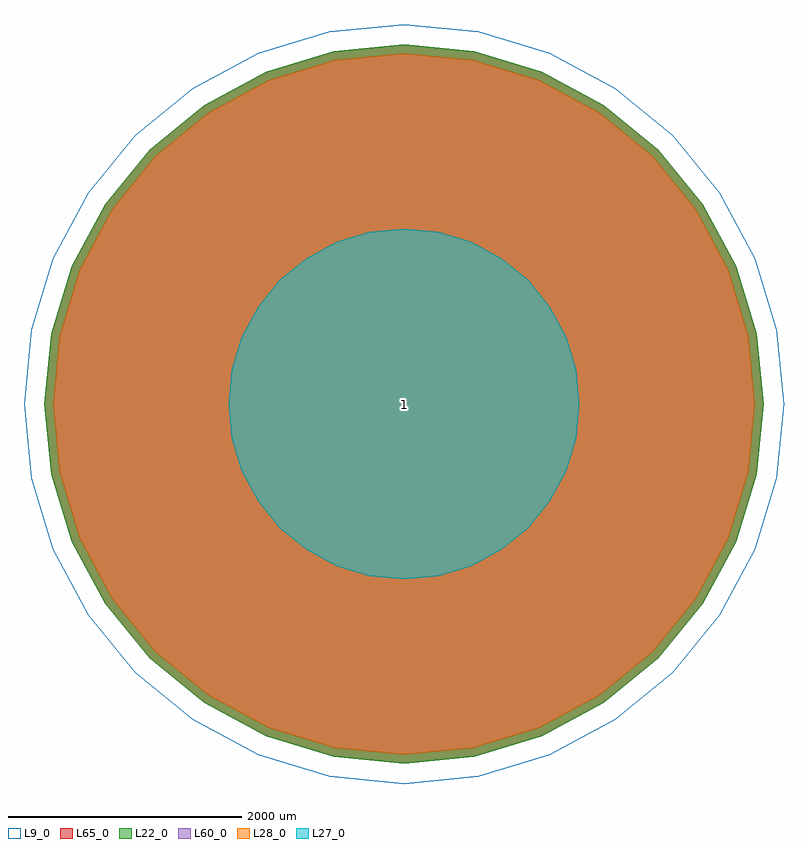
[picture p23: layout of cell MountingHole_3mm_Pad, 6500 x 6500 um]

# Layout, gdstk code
import gdstk
lib = gdstk.Library(unit=1e-6, precision=1e-09)
def P(c, l, *ps):  # polygons
    for p in ps: c.add(gdstk.Polygon(p, *l))
L9_0 = (9, 0)
L22_0 = (22, 0)
L27_0 = (27, 0)
L28_0 = (28, 0)
L60_0 = (60, 0)
L65_0 = (65, 0)

mountinghole_3mm_pad = lib.new_cell('MountingHole_3mm_Pad')
P(mountinghole_3mm_pad, L9_0, [(3250,0),(3187.552,634.044),(3002.608,1243.721),(2702.276,1805.603),(2298.097,2298.097),(1805.603,2702.276),(1243.721,3002.608),(634.044,3187.552),(0,3250),(-634.044,3187.552),(-1243.721,3002.608),(-1805.603,2702.276),(-2298.097,2298.097),(-2702.276,1805.603),(-3002.608,1243.721),(-3187.552,634.044),(-3250,0),(-3187.552,-634.044),(-3002.608,-1243.721),(-2702.276,-1805.603),(-2298.097,-2298.097),(-1805.603,-2702.276),(-1243.721,-3002.608),(-634.044,-3187.552),(0,-3250),(634.044,-3187.552),(1243.721,-3002.608),(1805.603,-2702.276),(2298.097,-2298.097),(2702.276,-1805.603),(3002.608,-1243.721),(3187.552,-634.044)],
  [(3000,0),(2942.356,585.271),(2771.639,1148.05),(2494.409,1666.711),(2121.32,2121.32),(1666.711,2494.409),(1148.05,2771.639),(585.271,2942.356),(0,3000),(-585.271,2942.356),(-1148.05,2771.639),(-1666.711,2494.409),(-2121.32,2121.32),(-2494.409,1666.711),(-2771.639,1148.05),(-2942.356,585.271),(-3000,0),(-2942.356,-585.271),(-2771.639,-1148.05),(-2494.409,-1666.711),(-2121.32,-2121.32),(-1666.711,-2494.409),(-1148.05,-2771.639),(-585.271,-2942.356),(0,-3000),(585.271,-2942.356),(1148.05,-2771.639),(1666.711,-2494.409),(2121.32,-2121.32),(2494.409,-1666.711),(2771.639,-1148.05),(2942.356,-585.271)])
P(mountinghole_3mm_pad, L22_0, [(3075,0),(3015.915,599.903),(2840.93,1176.752),(2556.769,1708.378),(2174.353,2174.353),(1708.378,2556.769),(1176.752,2840.93),(599.903,3015.915),(0,3075),(-599.903,3015.915),(-1176.752,2840.93),(-1708.378,2556.769),(-2174.353,2174.353),(-2556.769,1708.378),(-2840.93,1176.752),(-3015.915,599.903),(-3075,0),(-3015.915,-599.903),(-2840.93,-1176.752),(-2556.769,-1708.378),(-2174.353,-2174.353),(-1708.378,-2556.769),(-1176.752,-2840.93),(-599.903,-3015.915),(0,-3075),(599.903,-3015.915),(1176.752,-2840.93),(1708.378,-2556.769),(2174.353,-2174.353),(2556.769,-1708.378),(2840.93,-1176.752),(3015.915,-599.903)])
P(mountinghole_3mm_pad, L27_0, [(1499.999,0),(1471.177,292.635),(1385.818,574.025),(1247.204,833.355),(1060.659,1060.659),(833.355,1247.204),(574.025,1385.818),(292.635,1471.177),(0,1499.999),(-292.635,1471.177),(-574.025,1385.818),(-833.355,1247.204),(-1060.659,1060.659),(-1247.204,833.355),(-1385.818,574.025),(-1471.177,292.635),(-1499.999,0),(-1471.177,-292.635),(-1385.818,-574.025),(-1247.204,-833.355),(-1060.659,-1060.659),(-833.355,-1247.204),(-574.025,-1385.818),(-292.635,-1471.177),(0,-1499.999),(292.635,-1471.177),(574.025,-1385.818),(833.355,-1247.204),(1060.659,-1060.659),(1247.204,-833.355),(1385.818,-574.025),(1471.177,-292.635)])
P(mountinghole_3mm_pad, L28_0, [(3000,0),(2942.356,585.271),(2771.639,1148.05),(2494.409,1666.711),(2121.32,2121.32),(1666.711,2494.409),(1148.05,2771.639),(585.271,2942.356),(0,3000),(-585.271,2942.356),(-1148.05,2771.639),(-1666.711,2494.409),(-2121.32,2121.32),(-2494.409,1666.711),(-2771.639,1148.05),(-2942.356,585.271),(-3000,0),(-2942.356,-585.271),(-2771.639,-1148.05),(-2494.409,-1666.711),(-2121.32,-2121.32),(-1666.711,-2494.409),(-1148.05,-2771.639),(-585.271,-2942.356),(0,-3000),(585.271,-2942.356),(1148.05,-2771.639),(1666.711,-2494.409),(2121.32,-2121.32),(2494.409,-1666.711),(2771.639,-1148.05),(2942.356,-585.271)])
P(mountinghole_3mm_pad, L60_0, [(3000,0),(2942.356,585.271),(2771.639,1148.05),(2494.409,1666.711),(2121.32,2121.32),(1666.711,2494.409),(1148.05,2771.639),(585.271,2942.356),(0,3000),(-585.271,2942.356),(-1148.05,2771.639),(-1666.711,2494.409),(-2121.32,2121.32),(-2494.409,1666.711),(-2771.639,1148.05),(-2942.356,585.271),(-3000,0),(-2942.356,-585.271),(-2771.639,-1148.05),(-2494.409,-1666.711),(-2121.32,-2121.32),(-1666.711,-2494.409),(-1148.05,-2771.639),(-585.271,-2942.356),(0,-3000),(585.271,-2942.356),(1148.05,-2771.639),(1666.711,-2494.409),(2121.32,-2121.32),(2494.409,-1666.711),(2771.639,-1148.05),(2942.356,-585.271)])
P(mountinghole_3mm_pad, L65_0, [(3075,0),(3015.915,599.903),(2840.93,1176.752),(2556.769,1708.378),(2174.353,2174.353),(1708.378,2556.769),(1176.752,2840.93),(599.903,3015.915),(0,3075),(-599.903,3015.915),(-1176.752,2840.93),(-1708.378,2556.769),(-2174.353,2174.353),(-2556.769,1708.378),(-2840.93,1176.752),(-3015.915,599.903),(-3075,0),(-3015.915,-599.903),(-2840.93,-1176.752),(-2556.769,-1708.378),(-2174.353,-2174.353),(-1708.378,-2556.769),(-1176.752,-2840.93),(-599.903,-3015.915),(0,-3075),(599.903,-3015.915),(1176.752,-2840.93),(1708.378,-2556.769),(2174.353,-2174.353),(2556.769,-1708.378),(2840.93,-1176.752),(3015.915,-599.903)])
mountinghole_3mm_pad.add(gdstk.Label('1', (0,0), layer=28, texttype=0))
mountinghole_3mm_pad.add(gdstk.Label('type', (0,-4000), layer=9, texttype=0))
mountinghole_3mm_pad.add(gdstk.Label('devicename', (0,4000), layer=9, texttype=0))

lib.write_gds('MountingHole_3mm_Pad.gds')
